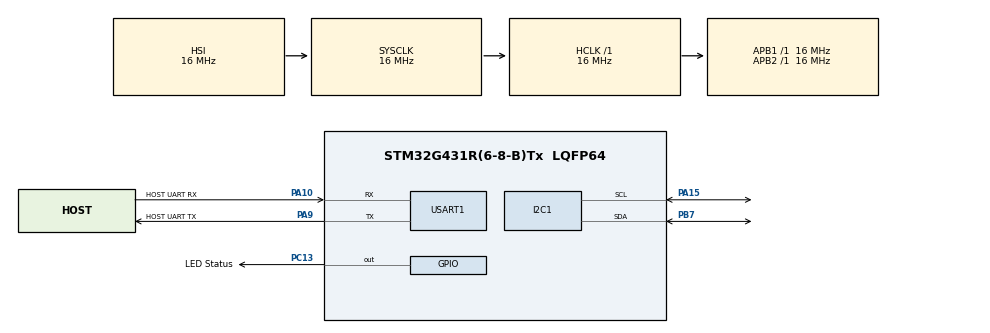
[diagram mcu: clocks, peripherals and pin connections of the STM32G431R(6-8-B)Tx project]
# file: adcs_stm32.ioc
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I2C1.OwnAddress=42
I2C1.Timing=0x00503D58
Mcu.Family=STM32G4
Mcu.Name=STM32G431R(6-8-B)Tx
Mcu.Package=LQFP64
NVIC.I2C1_ER_IRQn=true\:0\:0\:false\:false\:true\:true\:true\:true
NVIC.I2C1_EV_IRQn=true\:0\:0\:false\:false\:true\:true\:true\:true
NVIC.PriorityGroup=NVIC_PRIORITYGROUP_4
PA10.GPIO_Label=HOST UART RX
PA10.Mode=Asynchronous
PA10.Signal=USART1_RX
PA13.Mode=Serial_Wire
PA13.Signal=SYS_JTMS-SWDIO
PA14.Mode=Serial_Wire
PA14.Signal=SYS_JTCK-SWCLK
PA15.Mode=I2C
PA15.Signal=I2C1_SCL
PA9.GPIO_Label=HOST UART TX
PA9.Mode=Asynchronous
PA9.Signal=USART1_TX
PB7.Mode=I2C
PB7.Signal=I2C1_SDA
PC13.GPIO_Label=LED Status
PC13.Signal=GPIO_Output
ProjectManager.HeapSize=0x200
ProjectManager.StackSize=0x400
ProjectManager.TargetToolchain=STM32CubeIDE
RCC.AHBFreq_Value=16000000
RCC.APB1Freq_Value=16000000
RCC.APB1TimFreq_Value=16000000
RCC.APB2Freq_Value=16000000
RCC.APB2TimFreq_Value=16000000
RCC.CortexFreq_Value=16000000
RCC.EXTERNAL_CLOCK_VALUE=12288000
RCC.HCLKFreq_Value=16000000
RCC.HSE_VALUE=8000000
RCC.HSI48_VALUE=48000000
RCC.HSI_VALUE=16000000
RCC.LSE_VALUE=32768
RCC.SYSCLKFreq_VALUE=16000000
RCC.USBFreq_Value=64000000
RCC.VCOOutputFreq_Value=128000000
USART1.VirtualMode-Asynchronous=VM_ASYNC
VP_SYS_VS_DBSignals.Mode=DisableDeadBatterySignals
board=custom

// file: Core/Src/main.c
/* USER CODE BEGIN Header */
/**
  ******************************************************************************
  * @file           : main.c
  * @brief          : Main program body
  ******************************************************************************
  * @attention
  *
  * Copyright (c) 2026 STMicroelectronics.
  * All rights reserved.
  *
  * This software is licensed under terms that can be found in the LICENSE file
  * in the root directory of this software component.
  * If no LICENSE file comes with this software, it is provided AS-IS.
  *
  ******************************************************************************
  */
/* USER CODE END Header */
#include "main.h"

/* USER CODE BEGIN Includes */
#include "adcs_i2c_slave.h"
#include "adcs_log.h"
#include <stdio.h>
/* USER CODE END Includes */

I2C_HandleTypeDef hi2c1;

UART_HandleTypeDef huart1;

/* USER CODE BEGIN PV */
static bool s_logger_ready = false;
/* USER CODE END PV */

void SystemClock_Config(void);
static void MX_GPIO_Init(void);
static void MX_I2C1_Init(void);
static void MX_USART1_UART_Init(void);

/* USER CODE BEGIN 0 */
static void adcs_log_i2c_events(void)
{
  uint32_t events = adcs_i2c_slave_take_events();
  adcs_i2c_stats_t stats;

  if (events == 0U)
  {
    return;
  }

  adcs_i2c_slave_get_stats(&stats);

  if ((events & ADCS_I2C_EVENT_ERROR) != 0U)
  {
    adcs_log_write(
      ADCS_LOG_LEVEL_ERROR,
      "I2C",
      "error=0x%08lX errors=%lu callback_errors=%lu",
      (unsigned long)stats.last_error,
      (unsigned long)stats.error_count,
      (unsigned long)stats.callback_error_count
    );
  }

  if ((events & ADCS_I2C_EVENT_INVALID_COMMAND) != 0U)
  {
    adcs_log_write(
      ADCS_LOG_LEVEL_WARN,
      "I2C",
      "Rejected command/address; command=0x%02X match=0x%02X count=%lu",
      (unsigned int)stats.last_command,
      (unsigned int)stats.last_address_match,
      (unsigned long)stats.invalid_command_count
    );
  }

  if ((events & ADCS_I2C_EVENT_MALFORMED_FRAME) != 0U)
  {
    adcs_log_write(
      ADCS_LOG_LEVEL_WARN,
      "I2C",
      "Malformed or truncated write count=%lu",
      (unsigned long)stats.malformed_frame_count
    );
  }

  if ((events & ADCS_I2C_EVENT_RX_OVERRUN) != 0U)
  {
    adcs_log_write(
      ADCS_LOG_LEVEL_WARN,
      "I2C",
      "Receive frame dropped because main loop was busy; count=%lu",
      (unsigned long)stats.receive_overrun_count
    );
  }

  if ((events & ADCS_I2C_EVENT_RECOVERED) != 0U)
  {
    adcs_log_write(
      ADCS_LOG_LEVEL_INFO,
      "I2C",
      "Listen mode recovered; count=%lu",
      (unsigned long)stats.recovery_count
    );
  }

  if ((events & ADCS_I2C_EVENT_ACTIVITY) != 0U)
  {
    adcs_log_write(
      ADCS_LOG_LEVEL_INFO,
      "I2C",
      "addr=%lu rx=%lu/%lu tx=%lu/%lu listen=%lu cmd=0x%02X dir=%u",
      (unsigned long)stats.address_match_count,
      (unsigned long)stats.receive_start_count,
      (unsigned long)stats.receive_complete_count,
      (unsigned long)stats.transmit_start_count,
      (unsigned long)stats.transmit_complete_count,
      (unsigned long)stats.listen_complete_count,
      (unsigned int)stats.last_command,
      (unsigned int)stats.last_direction
    );
  }
}

static void adcs_handle_received_frames(void)
{
  adcs_i2c_frame_t frame;
  uint8_t destination;

  if (!adcs_i2c_slave_take_received_frame(&frame))
  {
    return;
  }

  adcs_log_write(
    ADCS_LOG_LEVEL_INFO,
    "I2C",
    "WRITE_FRAME accepted: wire_length=%u dest=%u src=%u payload=%u",
    (unsigned int)frame.length,
    (unsigned int)frame.bytes[0],
    (unsigned int)frame.bytes[1],
    (unsigned int)(frame.length - ADCS_I2C_FRAME_HEADER_SIZE)
  );

  /*
   * Bring-up behavior: queue the validated frame back to the sender with the
   * source and destination exchanged. This proves WRITE_FRAME, GET_STATUS,
   * and READ_FRAME before libcsp routing is connected.
   */
  destination = frame.bytes[0];
  frame.bytes[0] = frame.bytes[1];
  frame.bytes[1] = destination;

  if (adcs_i2c_slave_queue_transmit_frame(frame.bytes, frame.length) != HAL_OK)
  {
    adcs_log_write(
      ADCS_LOG_LEVEL_WARN,
      "I2C",
      "Could not queue round-trip frame because a response is already pending"
    );
  }
}

/* USER CODE END 0 */

int main(void)
{

  /* MCU Configuration--------------------------------------------------------*/

  /* Reset of all peripherals, Initializes the Flash interface and the Systick. */
  HAL_Init();

  /* Configure the system clock */
  SystemClock_Config();

  /* Initialize all configured peripherals */
  MX_GPIO_Init();
  MX_USART1_UART_Init();
  MX_I2C1_Init();
  /* USER CODE BEGIN 2 */

  adcs_log_write(
    ADCS_LOG_LEVEL_INFO,
    "BOOT",
    "ADCS firmware started"
  );

  adcs_log_write(
    ADCS_LOG_LEVEL_INFO,
    "BOOT",
    "System clock=%lu Hz",
    (unsigned long)HAL_RCC_GetSysClockFreq()
  );

  if (adcs_i2c_slave_init(&hi2c1) != HAL_OK)
  {
    adcs_log_write(
      ADCS_LOG_LEVEL_ERROR,
      "I2C",
      "Failed to enter slave listen mode"
    );

    Error_Handler();
  }

  adcs_log_write(
    ADCS_LOG_LEVEL_INFO,
    "I2C",
    "Listening as 7-bit slave address 0x%02X",
    (unsigned int)ADCS_I2C_7BIT_ADDRESS
  );

  /*
  This is deliberately tests that ordinary printf() is also routed to USART1
  */
  printf("[PRINTF TEST] stdout is connected to USART1\r\n");

  adcs_log_write(
    ADCS_LOG_LEVEL_INFO,
    "BOOT",
    "Entering main loop"
  );

  uint32_t last_heartbeat_ms = HAL_GetTick();

  adcs_log_write(
    ADCS_LOG_LEVEL_INFO,
    "I2C",
    "OAR1=0x%08lX CR1=0x%08lX ISR=0x%08lX state=0x%02lX",
    (unsigned long)hi2c1.Instance->OAR1,
    (unsigned long)hi2c1.Instance->CR1,
    (unsigned long)hi2c1.Instance->ISR,
    (unsigned long)HAL_I2C_GetState(&hi2c1)
  );

  /* USER CODE END 2 */

  /* Infinite loop */
  while (1)
  {

    /* USER CODE BEGIN 3 */
    uint32_t now_ms = HAL_GetTick();

    adcs_i2c_slave_process();
    adcs_handle_received_frames();
    adcs_log_i2c_events();

    if ((now_ms - last_heartbeat_ms) >= 1000U)
    {
        last_heartbeat_ms = now_ms;

        HAL_GPIO_TogglePin(
            LED_Status_GPIO_Port,
            LED_Status_Pin
        );

        adcs_log_write(
            ADCS_LOG_LEVEL_INFO,
            "HEALTH",
            "Main loop alive"
        );
    }
  }

  /* USER CODE END 3 */
}

void SystemClock_Config(void)
{
  RCC_OscInitTypeDef RCC_OscInitStruct = {0};
  RCC_ClkInitTypeDef RCC_ClkInitStruct = {0};

  /** Configure the main internal regulator output voltage
  */
  HAL_PWREx_ControlVoltageScaling(PWR_REGULATOR_VOLTAGE_SCALE1);

  /** Initializes the RCC Oscillators according to the specified parameters
  * in the RCC_OscInitTypeDef structure.
  */
  RCC_OscInitStruct.OscillatorType = RCC_OSCILLATORTYPE_HSI;
  RCC_OscInitStruct.HSIState = RCC_HSI_ON;
  RCC_OscInitStruct.HSICalibrationValue = RCC_HSICALIBRATION_DEFAULT;
  RCC_OscInitStruct.PLL.PLLState = RCC_PLL_NONE;
  if (HAL_RCC_OscConfig(&RCC_OscInitStruct) != HAL_OK)
  {
    Error_Handler();
  }

  /** Initializes the CPU, AHB and APB buses clocks
  */
  RCC_ClkInitStruct.ClockType = RCC_CLOCKTYPE_HCLK|RCC_CLOCKTYPE_SYSCLK
                              |RCC_CLOCKTYPE_PCLK1|RCC_CLOCKTYPE_PCLK2;
  RCC_ClkInitStruct.SYSCLKSource = RCC_SYSCLKSOURCE_HSI;
  RCC_ClkInitStruct.AHBCLKDivider = RCC_SYSCLK_DIV1;
  RCC_ClkInitStruct.APB1CLKDivider = RCC_HCLK_DIV1;
  RCC_ClkInitStruct.APB2CLKDivider = RCC_HCLK_DIV1;

  if (HAL_RCC_ClockConfig(&RCC_ClkInitStruct, FLASH_LATENCY_0) != HAL_OK)
  {
    Error_Handler();
  }
}

static void MX_I2C1_Init(void)
{

  /* USER CODE BEGIN I2C1_Init 1 */

  /* USART1 is initialized first; make I2C initialization failures visible. */
  if (!s_logger_ready)
  {
    adcs_log_init(&huart1);
    s_logger_ready = true;
  }

  /* USER CODE END I2C1_Init 1 */
  hi2c1.Instance = I2C1;
  hi2c1.Init.Timing = 0x00503D58;
  hi2c1.Init.OwnAddress1 = ADCS_I2C_HAL_OWN_ADDRESS;
  hi2c1.Init.AddressingMode = I2C_ADDRESSINGMODE_7BIT;
  hi2c1.Init.DualAddressMode = I2C_DUALADDRESS_DISABLE;
  hi2c1.Init.OwnAddress2 = 0;
  hi2c1.Init.OwnAddress2Masks = I2C_OA2_NOMASK;
  hi2c1.Init.GeneralCallMode = I2C_GENERALCALL_DISABLE;
  hi2c1.Init.NoStretchMode = I2C_NOSTRETCH_DISABLE;
  if (HAL_I2C_Init(&hi2c1) != HAL_OK)
  {
    Error_Handler();
  }

  /** Configure Analogue filter
  */
  if (HAL_I2CEx_ConfigAnalogFilter(&hi2c1, I2C_ANALOGFILTER_ENABLE) != HAL_OK)
  {
    Error_Handler();
  }

  /** Configure Digital filter
  */
  if (HAL_I2CEx_ConfigDigitalFilter(&hi2c1, 0) != HAL_OK)
  {
    Error_Handler();
  }

}

static void MX_USART1_UART_Init(void)
{

  huart1.Instance = USART1;
  huart1.Init.BaudRate = 115200;
  huart1.Init.WordLength = UART_WORDLENGTH_8B;
  huart1.Init.StopBits = UART_STOPBITS_1;
  huart1.Init.Parity = UART_PARITY_NONE;
  huart1.Init.Mode = UART_MODE_TX_RX;
  huart1.Init.HwFlowCtl = UART_HWCONTROL_NONE;
  huart1.Init.OverSampling = UART_OVERSAMPLING_16;
  huart1.Init.OneBitSampling = UART_ONE_BIT_SAMPLE_DISABLE;
  huart1.Init.ClockPrescaler = UART_PRESCALER_DIV1;
  huart1.AdvancedInit.AdvFeatureInit = UART_ADVFEATURE_NO_INIT;
  if (HAL_UART_Init(&huart1) != HAL_OK)
  {
    Error_Handler();
  }
  if (HAL_UARTEx_SetTxFifoThreshold(&huart1, UART_TXFIFO_THRESHOLD_1_8) != HAL_OK)
  {
    Error_Handler();
  }
  if (HAL_UARTEx_SetRxFifoThreshold(&huart1, UART_RXFIFO_THRESHOLD_1_8) != HAL_OK)
  {
    Error_Handler();
  }
  if (HAL_UARTEx_DisableFifoMode(&huart1) != HAL_OK)
  {
    Error_Handler();
  }

}

static void MX_GPIO_Init(void)
{
  GPIO_InitTypeDef GPIO_InitStruct = {0};

  /* GPIO Ports Clock Enable */
  __HAL_RCC_GPIOC_CLK_ENABLE();
  __HAL_RCC_GPIOA_CLK_ENABLE();
  __HAL_RCC_GPIOB_CLK_ENABLE();

  /*Configure GPIO pin Output Level */
  HAL_GPIO_WritePin(LED_Status_GPIO_Port, LED_Status_Pin, GPIO_PIN_RESET);

  /*Configure GPIO pin : LED_Status_Pin */
  GPIO_InitStruct.Pin = LED_Status_Pin;
  GPIO_InitStruct.Mode = GPIO_MODE_OUTPUT_PP;
  GPIO_InitStruct.Pull = GPIO_NOPULL;
  GPIO_InitStruct.Speed = GPIO_SPEED_FREQ_LOW;
  HAL_GPIO_Init(LED_Status_GPIO_Port, &GPIO_InitStruct);

}

void Error_Handler(void)
{
  /* USER CODE BEGIN Error_Handler_Debug */
  if (s_logger_ready)
  {
    (void)adcs_log_write(
      ADCS_LOG_LEVEL_ERROR,
      "FATAL",
      "Error_Handler entered"
    );
  }

  __disable_irq();
  while (1)
  {
    HAL_GPIO_TogglePin(LED_Status_GPIO_Port, LED_Status_Pin);
    for (volatile uint32_t delay = 0U; delay < 200000U; ++delay)
    {
      __NOP();
    }
  }
  /* USER CODE END Error_Handler_Debug */
}
